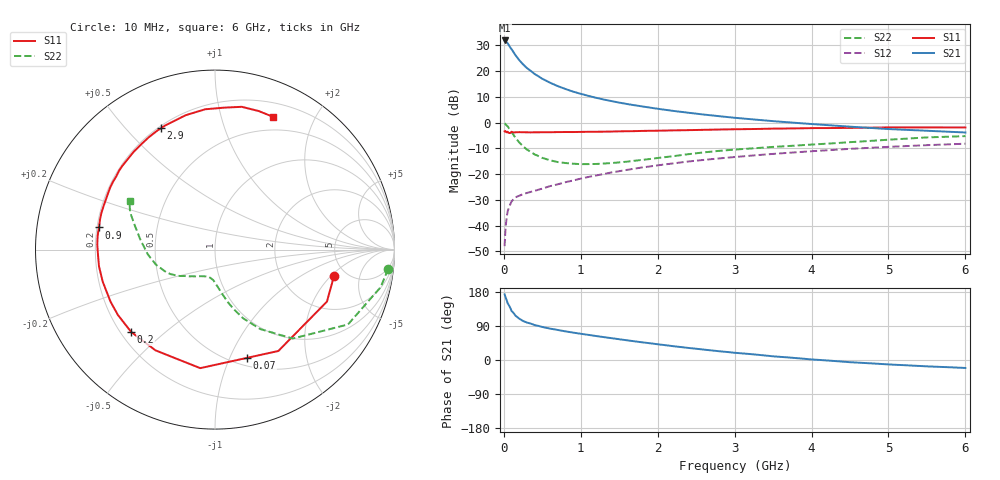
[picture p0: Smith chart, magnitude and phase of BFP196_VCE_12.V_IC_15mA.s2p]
! (c) 2017  Infineon Technologies AG, Munich
! Infineon Technologies  Discrete & RF Semiconductors
! BFP196
! VCE =  12. V,  IC =  15 mA
! Common Emitter S-Parameters:  Jan 2017
# GHz  S  MA  R  50
!  f  S11  S21  S12  S22
! GHz  MAG  ANG  MAG  ANG  MAG  ANG  MAG  ANG
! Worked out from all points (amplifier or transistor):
!   77 points, 10 MHz to 6 GHz, reference 50 ohm
!   highest |S21| = 31.9 dB at 10 MHz (marker M1)
!   |S21| within 3 dB of that: start of sweep to 90.7 MHz
!   unconditionally stable (mu >= 1): 888.1 MHz to 2.369 GHz
!   at 130 MHz: K = 0.31, MSG = 28.4 dB, |S12| = -29.6 dB
!   at 2.2 GHz: K = 1.02, MAG = 9.4 dB, |S12| = -15.8 dB
!   at 6 GHz: K = 0.90, MSG = 2.2 dB, |S12| = -8.2 dB
!   S11 on the Smith chart (normalised r, x): 10 MHz: 3.96, -2.19; 70 MHz: 0.58, -1.16; 200 MHz: 0.24, -0.39; 900 MHz: 0.21, +0.09; 2.9 GHz: 0.21, +0.63; 6 GHz: 0.35, +1.47
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0.01  0.679 -12.7  39.49 173.2  0.004 73.0  0.9712 -6.4
0.02  0.6877 -24.9  39.21 167.0  0.008 72.8  0.9462 -12.8
0.05  0.6661 -58.0  34.8 149.7  0.0191 63.9  0.8502 -29.4
0.07  0.6291 -73.5  31.15 142.9  0.0231 57.6  0.7633 -36.0
0.1  0.6656 -97.1  26.77 129.6  0.0295 51.4  0.6579 -48.9
0.15  0.652 -120.6  20.55 117.2  0.0355 44.0  0.5099 -60.3
0.2  0.6547 -135.6  16.41 109.1  0.0381 41.6  0.4138 -67.7
0.25  0.6521 -146.1  13.55 103.0  0.0411 41.0  0.3483 -72.5
0.3  0.6504 -153.5  11.5 98.9  0.0432 41.5  0.3009 -76.3
0.4  0.6507 -164.1  8.817 92.2  0.0474 43.9  0.2422 -81.6
0.5  0.653 -171.8  7.113 87.2  0.0525 46.4  0.2074 -85.9
0.6  0.6527 -177.7  5.976 82.9  0.0586 48.2  0.1861 -89.7
0.7  0.6564 177.6  5.136 79.3  0.0635 50.3  0.1719 -92.7
0.9  0.6579 169.2  4.011 72.3  0.0754 52.7  0.1599 -99.4
1.1  0.6652 162.0  3.312 66.3  0.0883 54.2  0.157 -105.8
1.5  0.6785 149.4  2.452 54.8  0.1144 54.5  0.1693 -119.0
2.1  0.7029 132.4  1.777 39.1  0.1551 51.3  0.2145 -136.3
2.9  0.7403 113.9  1.29 21.2  0.2087 44.1  0.2919 -153.5
3.1  0.7479 109.9  1.208 17.4  0.2215 42.0  0.3073 -157.7
4.1  0.7844 92.4  0.919 0.2  0.2849 31.5  0.3832 -178.6
5.1  0.8085 78.0  0.741 -12.7  0.3443 19.8  0.4767 161.7
6  0.8074 66.5  0.645 -21.0  0.3909 9.4  0.5484 150.2
